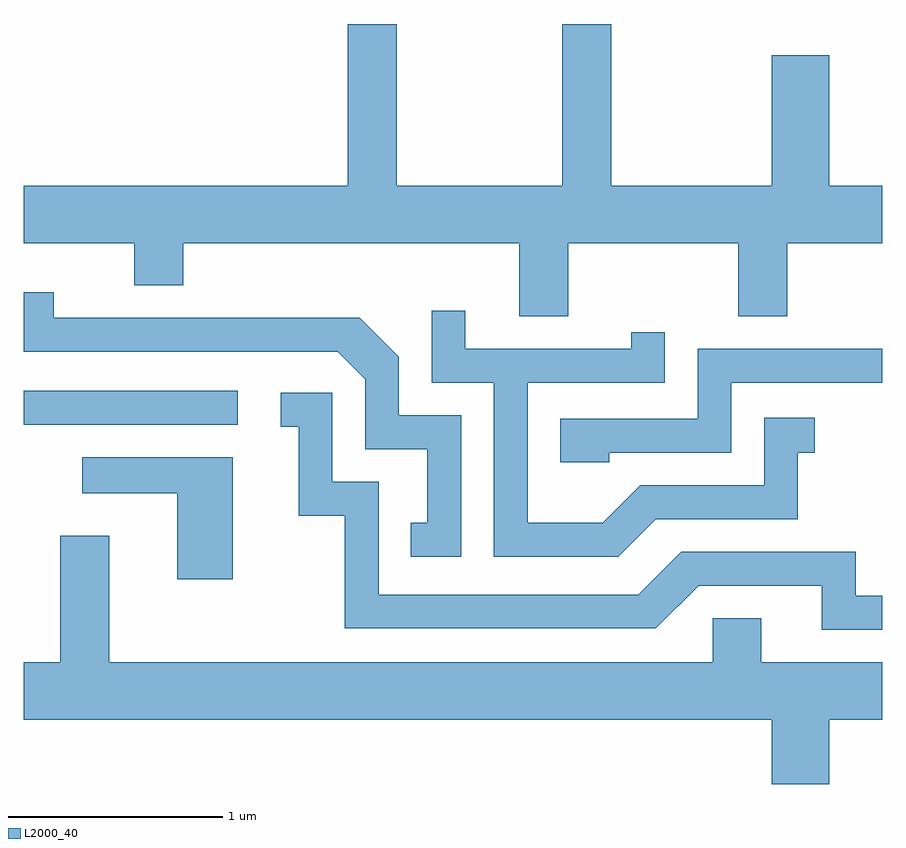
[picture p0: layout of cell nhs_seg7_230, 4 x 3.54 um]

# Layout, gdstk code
import gdstk
lib = gdstk.Library(unit=1e-6, precision=1e-09)
def R(c, l, rs):  # rectangles x0, y0, x1, y1
    for r in rs: c.add(gdstk.rectangle(r[:2], r[2:], *l))
def P(c, l, *ps):  # polygons
    for p in ps: c.add(gdstk.Polygon(p, *l))
L2000_40 = (2000, 40)

nhs_seg7_230 = lib.new_cell('nhs_seg7_230')
R(nhs_seg7_230, L2000_40, [(191.611,1722.351,192.608,1722.509)])
P(nhs_seg7_230, L2000_40, [(194.149,1723.196),(194.941,1723.196),(194.941,1722.856),(195.169,1722.856),(195.169,1723.196),(195.611,1723.196),(195.611,1723.464),(195.364,1723.464),(195.364,1724.074),(195.096,1724.074),(195.096,1723.464),(194.349,1723.464),(194.349,1724.219),(194.121,1724.219),(194.121,1723.464),(193.349,1723.464),(193.349,1724.219),(193.121,1724.219),(193.121,1723.464),(191.611,1723.464),(191.611,1723.196),(192.126,1723.196),(192.126,1723.001),(192.354,1723.001),(192.354,1723.196),(193.921,1723.196),(193.921,1722.856),(194.149,1722.856)],
  [(193.649,1722.394),(193.359,1722.394),(193.359,1722.667),(193.177,1722.849),(191.749,1722.849),(191.749,1722.969),(191.611,1722.969),(191.611,1722.691),(193.074,1722.691),(193.201,1722.564),(193.201,1722.236),(193.491,1722.236),(193.491,1721.894),(193.413,1721.894),(193.413,1721.736),(193.649,1721.736)],
  [(194.557,1721.911),(195.219,1721.911),(195.219,1722.221),(195.298,1722.221),(195.298,1722.384),(195.061,1722.384),(195.061,1722.069),(194.484,1722.069),(194.309,1721.894),(193.959,1721.894),(193.959,1722.546),(194.599,1722.546),(194.599,1722.783),(194.441,1722.783),(194.441,1722.704),(193.669,1722.704),(193.669,1722.883),(193.511,1722.883),(193.511,1722.546),(193.801,1722.546),(193.801,1721.736),(194.382,1721.736)],
  [(194.339,1722.221),(194.909,1722.221),(194.909,1722.546),(195.611,1722.546),(195.611,1722.704),(194.751,1722.704),(194.751,1722.379),(194.111,1722.379),(194.111,1722.176),(194.339,1722.176)],
  [(195.611,1721.554),(195.489,1721.554),(195.489,1721.759),(194.674,1721.759),(194.474,1721.559),(193.264,1721.559),(193.264,1722.084),(193.049,1722.084),(193.049,1722.499),(192.808,1722.499),(192.808,1722.341),(192.891,1722.341),(192.891,1721.926),(193.106,1721.926),(193.106,1721.401),(194.557,1721.401),(194.757,1721.601),(195.331,1721.601),(195.331,1721.396),(195.611,1721.396)],
  [(192.584,1722.199),(191.883,1722.199),(191.883,1722.031),(192.326,1722.031),(192.326,1721.631),(192.584,1721.631)],
  [(195.364,1720.976),(195.611,1720.976),(195.611,1721.244),(195.049,1721.244),(195.049,1721.449),(194.821,1721.449),(194.821,1721.244),(192.009,1721.244),(192.009,1721.834),(191.781,1721.834),(191.781,1721.244),(191.611,1721.244),(191.611,1720.976),(195.096,1720.976),(195.096,1720.676),(195.364,1720.676)])

lib.write_gds('nhs_seg7_230.gds')
